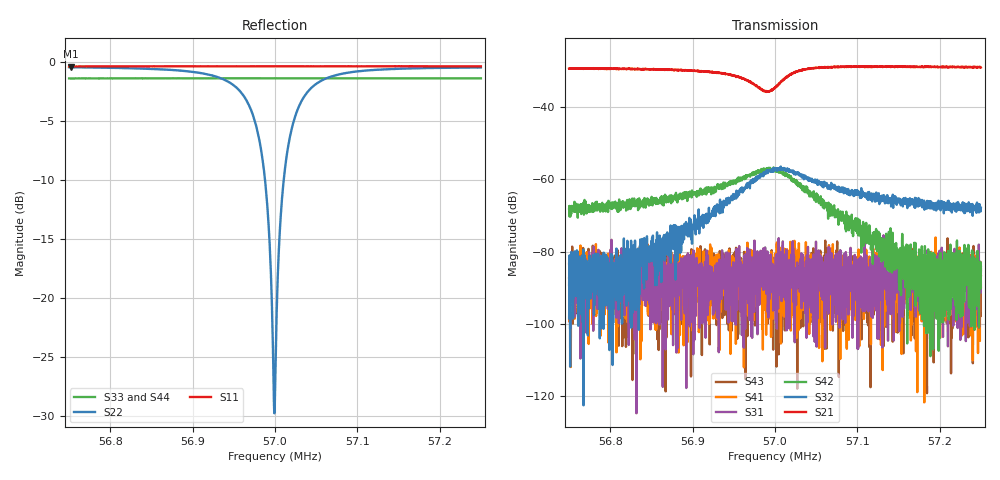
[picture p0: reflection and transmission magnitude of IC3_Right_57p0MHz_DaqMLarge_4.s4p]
#  HZ  S  DB  R  50.00
! Rohde & Schwarz Vector Network Analyzer
! Rohde-Schwarz,ZNB8-4Port,1311601044102961,2.82
! Created: UTC 2/12/2019, 2:32:13 PM
! freq[Hz]  db:S11  ang:S11  db:S12  ang:S12  db:S13  ang:S13  db:S14  ang:S14
!  db:S21  ang:S21  db:S22  ang:S22  db:S23  ang:S23  db:S24  ang:S24
!  db:S31  ang:S31  db:S32  ang:S32  db:S33  ang:S33  db:S34  ang:S34
!  db:S41  ang:S41  db:S42  ang:S42  db:S43  ang:S43  db:S44  ang:S44
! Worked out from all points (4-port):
!   2001 points, 56.75 MHz to 57.25 MHz, reference 50 ohm
!   strongest paths, dB at 56.75 MHz, 56.875 MHz, 57 MHz, 57.125 MHz, 57.25 MHz:
!     S21: -29.4, -29.8, -34.7, -28.9, -29.1
!     S32: -98.5, -78.8, -57.1, -64.8, -67.9
!     S42: -68.1, -65.0, -57.4, -75.8, -84.2
!     S31: -89.2, -85.7, -84.9, -86.7, -85.0
!     S41: -83.4, -96.8, -80.6, -85.4, -86.8
!     S43: -87.1, -86.0, -95.9, -86.4, -89.9
!   lowest |S11| = -0.4 dB at 56.752 MHz (marker M1), VSWR 43.76, Z = 2.93 + j62.4 ohm
!   |S11| at or under -10 dB: nowhere
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5.675e7  -0.39 77.3  -29.39 61.7  -92.97 15.8  -88.79 -15.4
         -29.39 62.0  -0.44 -133.0  -82.03 138.2  -67.30 -150.2
         -89.20 -18.4  -98.47 -80.5  -1.40 13.3  -90.92 -116.7
         -83.38 5.0  -68.11 -141.6  -87.13 91.4  -1.41 19.8
5.6752e7  -0.40 77.3  -29.39 62.4  -95.35 95.9  -89.60 -173.2
          -29.49 62.8  -0.45 -133.2  -80.00 -157.6  -68.64 -149.5
          -84.98 3.0  -93.79 -144.9  -1.40 13.3  -91.33 -1.1
          -111.90 -79.6  -68.47 -158.5  -85.70 -60.5  -1.40 19.8
5.696225e7  -0.37 73.8  -32.42 43.4  -80.65 179.4  -91.28 -152.8
            -32.21 44.0  -2.91 178.5  -62.58 -22.4  -60.34 171.0
            -97.26 -105.8  -63.04 -16.5  -1.38 10.6  -86.47 -16.7
            -111.98 -113.8  -59.64 172.6  -83.74 35.5  -1.39 17.3
5.699925e7  -0.36 73.2  -34.86 78.8  -103.31 63.0  -98.66 -178.7
            -34.94 78.7  -29.78 39.7  -57.19 -70.9  -57.19 122.2
            -89.98 120.6  -57.16 -71.1  -1.39 10.2  -91.53 -43.3
            -85.29 -96.3  -57.84 121.8  -90.31 99.1  -1.39 16.8
5.701175e7  -0.36 73.0  -32.21 85.9  -90.24 72.9  -92.56 -5.2
            -32.23 86.3  -9.26 -67.2  -57.15 -92.3  -58.32 100.0
            -85.01 144.6  -57.17 -90.4  -1.39 10.1  -82.00 -102.9
            -82.53 -81.6  -58.54 102.9  -100.00 -155.3  -1.40 16.6
5.703675e7  -0.37 72.6  -29.61 76.5  -88.10 39.7  -90.25 -137.6
            -29.61 76.4  -2.80 -100.4  -59.67 -121.8  -62.91 74.5
            -97.03 -133.0  -59.04 -122.8  -1.39 9.8  -87.81 -96.2
            -82.98 -92.2  -62.17 72.4  -91.76 152.7  -1.39 16.4
5.725e7  -0.38 69.0  -29.05 50.1  -85.24 -39.6  -102.74 21.4
         -29.13 50.0  -0.46 -149.0  -67.89 -148.3  -80.96 -142.5
         -84.95 69.9  -67.92 -160.7  -1.39 7.1  -80.99 75.2
         -86.78 111.8  -84.21 -162.1  -89.94 78.7  -1.39 13.7
